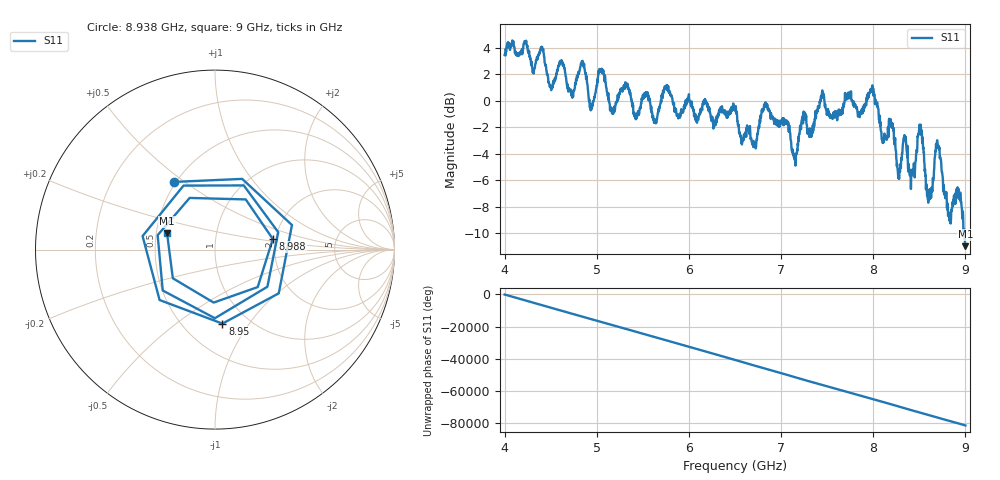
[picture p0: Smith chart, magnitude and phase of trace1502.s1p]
! Created with skrf 1.8.0 (http://scikit-rf.org).
# Hz S RI R 50.0
!freq ReS11 ImS11
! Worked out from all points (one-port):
!   1601 points, 4 GHz to 9 GHz, reference 50 ohm
!   lowest |S11| = -11.0 dB at 9 GHz (marker M1), VSWR 1.79, Z = 28.5 + j5.65 ohm
!   |S11| at or under -10 dB: 8.991043 GHz to end of sweep
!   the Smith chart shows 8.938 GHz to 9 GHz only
!   S11 on the Smith chart (normalised r, x): 8.938 GHz: 0.49, +0.45; 8.95 GHz: 0.76, -0.76; 8.988 GHz: 1.93, +0.25; 9 GHz: 0.57, +0.11
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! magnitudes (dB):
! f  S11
! 4 GHz  3.5
! 4.5 GHz  1.0
! 4.625 GHz  2.9
! 4.725 GHz  0.7
! 4.85 GHz  2.9
! 4.941 GHz  -0.5
! 5.044 GHz  2.3
! 5.166 GHz  -1.0
! 5.25 GHz  0.6
! 5.875 GHz  -1.0
! 6.5 GHz  -0.7
! 6.706 GHz  -3.2
! 6.841 GHz  -0.2
! 7.125 GHz  -3.9
! 7.444 GHz  0.6
! 7.75 GHz  0.4
! 7.991 GHz  1.2
! 8.275 GHz  -5.2
! 8.375 GHz  -4.6
! 8.428 GHz  -5.5
! 8.509 GHz  -2.2
! 8.603 GHz  -7.4
! 8.694 GHz  -3.0
! 8.825 GHz  -8.6
! 8.938 GHz  -7.1
! 8.95 GHz  -7.7
! 8.988 GHz  -9.7
! 9 GHz  -11.0
